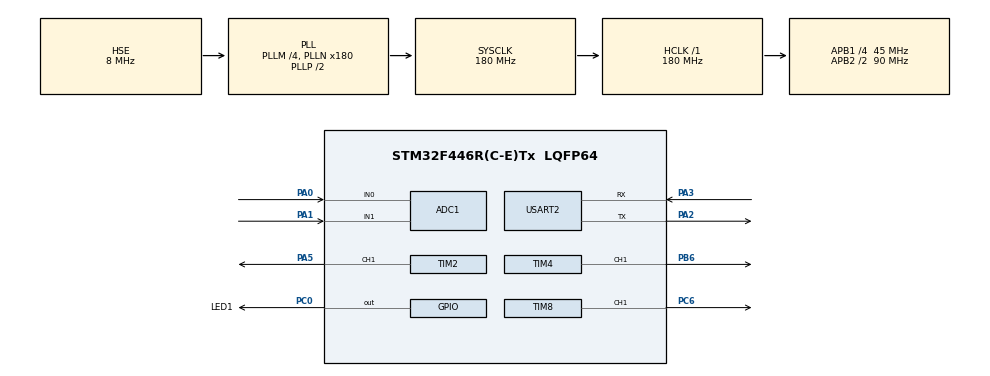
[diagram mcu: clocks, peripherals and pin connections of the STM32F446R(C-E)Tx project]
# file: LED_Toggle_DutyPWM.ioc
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ADC1.Channel-2\#ChannelRegularConversion=ADC_CHANNEL_0
ADC1.Channel-3\#ChannelRegularConversion=ADC_CHANNEL_1
ADC1.ContinuousConvMode=ENABLE
ADC1.DMAContinuousRequests=ENABLE
ADC1.ExternalTrigConv=ADC_SOFTWARE_START
ADC1.NbrOfConversion=2
ADC1.NbrOfConversionFlag=1
ADC1.Rank-2\#ChannelRegularConversion=1
ADC1.Rank-3\#ChannelRegularConversion=2
ADC1.SamplingTime-2\#ChannelRegularConversion=ADC_SAMPLETIME_144CYCLES
ADC1.SamplingTime-3\#ChannelRegularConversion=ADC_SAMPLETIME_144CYCLES
ADC1.ScanConvMode=ENABLE
ADC1.master=1
Dma.ADC1.0.Direction=DMA_PERIPH_TO_MEMORY
Dma.ADC1.0.FIFOMode=DMA_FIFOMODE_DISABLE
Dma.ADC1.0.Instance=DMA2_Stream0
Dma.ADC1.0.MemDataAlignment=DMA_MDATAALIGN_HALFWORD
Dma.ADC1.0.MemInc=DMA_MINC_ENABLE
Dma.ADC1.0.Mode=DMA_CIRCULAR
Dma.ADC1.0.PeriphDataAlignment=DMA_PDATAALIGN_HALFWORD
Dma.ADC1.0.PeriphInc=DMA_PINC_DISABLE
Dma.ADC1.0.Priority=DMA_PRIORITY_LOW
Dma.Request0=ADC1
Mcu.Family=STM32F4
Mcu.Name=STM32F446R(C-E)Tx
Mcu.Package=LQFP64
NVIC.DMA2_Stream0_IRQn=true\:14\:0\:true\:false\:true\:false\:true\:true
NVIC.PriorityGroup=NVIC_PRIORITYGROUP_4
NVIC.TIM2_IRQn=true\:0\:0\:false\:false\:true\:true\:true\:true
NVIC.TIM3_IRQn=true\:0\:0\:false\:false\:true\:true\:true\:true
NVIC.TIM6_DAC_IRQn=true\:0\:0\:false\:false\:true\:true\:true\:true
NVIC.USART2_IRQn=true\:0\:0\:false\:false\:true\:true\:true\:true
PA0-WKUP.Signal=ADCx_IN0
PA1.Signal=ADCx_IN1
PA13.Mode=Serial_Wire
PA13.Signal=SYS_JTMS-SWDIO
PA14.Mode=Serial_Wire
PA14.Signal=SYS_JTCK-SWCLK
PA2.Mode=Asynchronous
PA2.Signal=USART2_TX
PA3.Mode=Asynchronous
PA3.Signal=USART2_RX
PA5.Signal=S_TIM2_CH1_ETR
PB6.Signal=S_TIM4_CH1
PC0.GPIO_Label=LED1
PC0.GPIO_Speed=GPIO_SPEED_FREQ_HIGH
PC0.Signal=GPIO_Output
PC6.Signal=S_TIM8_CH1
PH0-OSC_IN.Mode=HSE-External-Oscillator
PH0-OSC_IN.Signal=RCC_OSC_IN
PH1-OSC_OUT.Mode=HSE-External-Oscillator
PH1-OSC_OUT.Signal=RCC_OSC_OUT
ProjectManager.HeapSize=0x200
ProjectManager.StackSize=0x400
ProjectManager.TargetToolchain=STM32CubeIDE
RCC.AHBFreq_Value=180000000
RCC.APB1CLKDivider=RCC_HCLK_DIV4
RCC.APB1Freq_Value=45000000
RCC.APB1TimFreq_Value=90000000
RCC.APB2CLKDivider=RCC_HCLK_DIV2
RCC.APB2Freq_Value=90000000
RCC.APB2TimFreq_Value=180000000
RCC.CortexFreq_Value=180000000
RCC.HCLKFreq_Value=180000000
RCC.HSE_VALUE=8000000
RCC.PLLM=4
RCC.PLLN=180
RCC.PLLSourceVirtual=RCC_PLLSOURCE_HSE
RCC.SYSCLKFreq_VALUE=180000000
RCC.SYSCLKSource=RCC_SYSCLKSOURCE_PLLCLK
RCC.USBFreq_Value=180000000
RCC.VCOOutputFreq_Value=360000000
SH.ADCx_IN0.0=ADC1_IN0,IN0
SH.ADCx_IN1.0=ADC1_IN1,IN1
SH.S_TIM2_CH1_ETR.0=TIM2_CH1,PWM Generation1 CH1
SH.S_TIM4_CH1.0=TIM4_CH1,PWM Generation1 CH1
SH.S_TIM8_CH1.0=TIM8_CH1,PWM Generation1 CH1
TIM2.AutoReloadPreload=TIM_AUTORELOAD_PRELOAD_ENABLE
TIM2.Channel-PWM\ Generation1\ CH1=TIM_CHANNEL_1
TIM2.Period=20000-1
TIM2.Prescaler=9000-1
TIM2.Pulse-PWM\ Generation1\ CH1=10000-1
TIM2.TIM_MasterOutputTrigger=TIM_TRGO_RESET
TIM3.Period=10000-1
TIM3.Prescaler=9000-1
TIM4.AutoReloadPreload=TIM_AUTORELOAD_PRELOAD_ENABLE
TIM4.Channel-PWM\ Generation1\ CH1=TIM_CHANNEL_1
TIM4.Period=10000-1
TIM4.Prescaler=9-1
TIM6.AutoReloadPreload=TIM_AUTORELOAD_PRELOAD_ENABLE
TIM6.Period=1000-1
TIM6.Prescaler=9000-1
TIM8.AutoReloadPreload=TIM_AUTORELOAD_PRELOAD_ENABLE
TIM8.Channel-PWM\ Generation1\ CH1=TIM_CHANNEL_1
TIM8.Period=18000-1
TIM8.Prescaler=0
TIM8.TIM_MasterOutputTrigger=TIM_TRGO_RESET
USART2.VirtualMode=VM_ASYNC
VP_TIM2_VS_ClockSourceINT.Mode=Internal
VP_TIM3_VS_ClockSourceINT.Mode=Internal
VP_TIM4_VS_ClockSourceINT.Mode=Internal
VP_TIM6_VS_ClockSourceINT.Mode=Enable_Timer
VP_TIM8_VS_ClockSourceINT.Mode=Internal
board=custom

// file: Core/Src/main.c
/* USER CODE BEGIN Header */
/**
  ******************************************************************************
  * @file           : main.c
  * @brief          : Main program body
  ******************************************************************************
  * @attention
  *
  * Copyright (c) 2023 STMicroelectronics.
  * All rights reserved.
  *
  * This software is licensed under terms that can be found in the LICENSE file
  * in the root directory of this software component.
  * If no LICENSE file comes with this software, it is provided AS-IS.
  *
  ******************************************************************************
  */
/* USER CODE END Header */
#include "main.h"

/* USER CODE BEGIN Includes */
#include "lvq_stm32f4_ota.h"
#include "cbuffer.h"
#include <stdio.h>
#include <stdlib.h>
#include <string.h>
#include <stdbool.h>

#define TEST_ADC				(1)
#define TEST_ADC_POLLING		(0)
#define TEST_ADC_DMA			(1)
#define TEST_ADC_TRIG_TIMER		(0)
#define TEST_LED				(0)
#define TEST_LED_FADE			(0)

#define INCREMENT   			(10)
#define DECREMENT   			(-10)
#define MAX_VOLTS   			(3.3)
#define VOLTS_RE				(1.0)
#define RANGE_PWM      			(18000 - 1)

/* USER CODE END Includes */

 ADC_HandleTypeDef hadc1;
DMA_HandleTypeDef hdma_adc1;

TIM_HandleTypeDef htim2;
TIM_HandleTypeDef htim3;
TIM_HandleTypeDef htim4;
TIM_HandleTypeDef htim6;
TIM_HandleTypeDef htim8;

UART_HandleTypeDef huart1;
UART_HandleTypeDef huart2;

void SystemClock_Config(void);
static void MX_GPIO_Init(void);
static void MX_TIM2_Init(void);
static void MX_TIM3_Init(void);
static void MX_TIM4_Init(void);
static void MX_DMA_Init(void);
static void MX_TIM8_Init(void);
static void MX_ADC1_Init(void);
static void MX_USART2_UART_Init(void);
static void MX_TIM6_Init(void);

/* USER CODE BEGIN 0 */

volatile const uint32_t checkupdate[20000] = {0};

char data_buffer[8];
char volts[8];
uint8_t rx_data = 0;
uint8_t count = 0;
int8_t s8update = INCREMENT;
volatile uint16_t adc_buf[2] = {0, 0};
float fvolts = 0;
volatile float fadc_volts = 0;
volatile float volts_check = 0;
uint32_t u32dutycurrent = 0;

void HAL_UART_RxCpltCallback(UART_HandleTypeDef *huart)
{
	if(rx_data == '\n')
	{
		data_buffer[count++]='\n';
		HAL_UART_Transmit(huart,(uint8_t *) data_buffer,count,HAL_MAX_DELAY);
		strcpy(volts, data_buffer);
		memset(data_buffer, 0, count);
		count = 0;
		fvolts = atof(volts);
		fvolts = (fvolts/3.3)*RANGE_PWM;
		__HAL_TIM_SET_COMPARE(&htim8, TIM_CHANNEL_1, (uint32_t) fvolts);
	}
	else
	{
		data_buffer[count++] = rx_data;
	}
	HAL_UART_Receive_IT(&huart2,&rx_data,1);
}

void HAL_TIM_PeriodElapsedCallback(TIM_HandleTypeDef *htim) //16Khz timer
{
   if( htim->Instance == TIM3 )
	   HAL_GPIO_TogglePin(LED1_GPIO_Port, LED1_Pin);
   if( htim->Instance == TIM6 )
   {
	   volts_check = adc_buf[0]*1.0/4095.0 * 3.3;
   }
}

/* USER CODE END 0 */

int main(void)
{

  /* MCU Configuration--------------------------------------------------------*/

  /* Reset of all peripherals, Initializes the Flash interface and the Systick. */
  HAL_Init();

  /* Configure the system clock */
  SystemClock_Config();

  /* Initialize all configured peripherals */
  MX_GPIO_Init();
  MX_TIM2_Init();
  MX_TIM3_Init();
  MX_TIM4_Init();
  MX_DMA_Init();
  MX_TIM8_Init();
  MX_ADC1_Init();
  MX_USART2_UART_Init();
  MX_TIM6_Init();
  /* USER CODE BEGIN 2 */
  HAL_TIM_Base_Start_IT(&htim3);
  HAL_TIM_Base_Start_IT(&htim6);
  HAL_TIM_PWM_Start(&htim4, TIM_CHANNEL_1);
  HAL_TIM_PWM_Start(&htim2, TIM_CHANNEL_1);
  HAL_TIM_PWM_Start(&htim8, TIM_CHANNEL_1);
  HAL_UART_Receive_IT(&huart2,&rx_data,1);
  fvolts = (1.0/3.3)*RANGE_PWM;
  __HAL_TIM_SET_COMPARE(&htim4, TIM_CHANNEL_1, 0);
  __HAL_TIM_SET_COMPARE(&htim8, TIM_CHANNEL_1, (uint32_t) fvolts);

  #if defined TEST_ADC && ( TEST_ADC_DMA == 1U )
  	  HAL_ADC_Start_DMA(&hadc1, (uint32_t*)adc_buf, 2);
  #endif

  #if defined TEST_ADC && ( TEST_ADC_TRIG_TIMER == 1U )
  	HAL_ADC_Start_IT(&hadc1);
  	HAL_TIM_PWM_Start(&htim3, TIM_CHANNEL_1);
  #endif

  uint8_t buffer[10] = { 0 };
  memset(buffer, 0, 10);
  cbuffer_t cb;
  cb_init(&cb, buffer, 10);

  checkupdate[0];
  /* USER CODE END 2 */

  /* Infinite loop */
  while (1)
  {

    /* USER CODE BEGIN 3 */
	#if defined TEST_LED && ( TEST_LED_FADE == 1U )
	  	u32dutycurrent += s8update;
		__HAL_TIM_SET_COMPARE(&htim4, TIM_CHANNEL_1, u32dutycurrent);
		if( u32dutycurrent == 9999 )
			s8update = DECREMENT;
		else if( u32dutycurrent == 0 )
			s8update = INCREMENT;
		HAL_Delay(1);
    #endif

	#if defined TEST_ADC && ( TEST_ADC_POLLING == 1U )
		HAL_ADC_Start(&hadc1);
		if(HAL_ADC_PollForConversion(&hadc1, 100) == HAL_OK)
		{
			fadc_volts = HAL_ADC_GetValue(&hadc1)*1.0/4095 * 3.3;
		}
		HAL_ADC_Stop(&hadc1);
		HAL_Delay(200);
  	#endif

	#if defined TEST_ADC && ( TEST_ADC_DMA == 1U )

	#endif
  }
  /* USER CODE END 3 */
}

void SystemClock_Config(void)
{
  RCC_OscInitTypeDef RCC_OscInitStruct = {0};
  RCC_ClkInitTypeDef RCC_ClkInitStruct = {0};

  /** Configure the main internal regulator output voltage
  */
  __HAL_RCC_PWR_CLK_ENABLE();
  __HAL_PWR_VOLTAGESCALING_CONFIG(PWR_REGULATOR_VOLTAGE_SCALE1);

  /** Initializes the RCC Oscillators according to the specified parameters
  * in the RCC_OscInitTypeDef structure.
  */
  RCC_OscInitStruct.OscillatorType = RCC_OSCILLATORTYPE_HSE;
  RCC_OscInitStruct.HSEState = RCC_HSE_ON;
  RCC_OscInitStruct.PLL.PLLState = RCC_PLL_ON;
  RCC_OscInitStruct.PLL.PLLSource = RCC_PLLSOURCE_HSE;
  RCC_OscInitStruct.PLL.PLLM = 4;
  RCC_OscInitStruct.PLL.PLLN = 180;
  RCC_OscInitStruct.PLL.PLLP = RCC_PLLP_DIV2;
  RCC_OscInitStruct.PLL.PLLQ = 2;
  RCC_OscInitStruct.PLL.PLLR = 2;
  if (HAL_RCC_OscConfig(&RCC_OscInitStruct) != HAL_OK)
  {
    Error_Handler();
  }

  /** Activate the Over-Drive mode
  */
  if (HAL_PWREx_EnableOverDrive() != HAL_OK)
  {
    Error_Handler();
  }

  /** Initializes the CPU, AHB and APB buses clocks
  */
  RCC_ClkInitStruct.ClockType = RCC_CLOCKTYPE_HCLK|RCC_CLOCKTYPE_SYSCLK
                              |RCC_CLOCKTYPE_PCLK1|RCC_CLOCKTYPE_PCLK2;
  RCC_ClkInitStruct.SYSCLKSource = RCC_SYSCLKSOURCE_PLLCLK;
  RCC_ClkInitStruct.AHBCLKDivider = RCC_SYSCLK_DIV1;
  RCC_ClkInitStruct.APB1CLKDivider = RCC_HCLK_DIV4;
  RCC_ClkInitStruct.APB2CLKDivider = RCC_HCLK_DIV2;

  if (HAL_RCC_ClockConfig(&RCC_ClkInitStruct, FLASH_LATENCY_5) != HAL_OK)
  {
    Error_Handler();
  }
}

static void MX_ADC1_Init(void)
{

  ADC_ChannelConfTypeDef sConfig = {0};

  /** Configure the global features of the ADC (Clock, Resolution, Data Alignment and number of conversion)
  */
  hadc1.Instance = ADC1;
  hadc1.Init.ClockPrescaler = ADC_CLOCK_SYNC_PCLK_DIV4;
  hadc1.Init.Resolution = ADC_RESOLUTION_12B;
  hadc1.Init.ScanConvMode = ENABLE;
  hadc1.Init.ContinuousConvMode = ENABLE;
  hadc1.Init.DiscontinuousConvMode = DISABLE;
  hadc1.Init.ExternalTrigConvEdge = ADC_EXTERNALTRIGCONVEDGE_NONE;
  hadc1.Init.ExternalTrigConv = ADC_SOFTWARE_START;
  hadc1.Init.DataAlign = ADC_DATAALIGN_RIGHT;
  hadc1.Init.NbrOfConversion = 2;
  hadc1.Init.DMAContinuousRequests = ENABLE;
  hadc1.Init.EOCSelection = ADC_EOC_SINGLE_CONV;
  if (HAL_ADC_Init(&hadc1) != HAL_OK)
  {
    Error_Handler();
  }

  /** Configure for the selected ADC regular channel its corresponding rank in the sequencer and its sample time.
  */
  sConfig.Channel = ADC_CHANNEL_0;
  sConfig.Rank = 1;
  sConfig.SamplingTime = ADC_SAMPLETIME_144CYCLES;
  if (HAL_ADC_ConfigChannel(&hadc1, &sConfig) != HAL_OK)
  {
    Error_Handler();
  }

  /** Configure for the selected ADC regular channel its corresponding rank in the sequencer and its sample time.
  */
  sConfig.Channel = ADC_CHANNEL_1;
  sConfig.Rank = 2;
  if (HAL_ADC_ConfigChannel(&hadc1, &sConfig) != HAL_OK)
  {
    Error_Handler();
  }

}

static void MX_TIM2_Init(void)
{

  TIM_ClockConfigTypeDef sClockSourceConfig = {0};
  TIM_MasterConfigTypeDef sMasterConfig = {0};
  TIM_OC_InitTypeDef sConfigOC = {0};

  htim2.Instance = TIM2;
  htim2.Init.Prescaler = 9000-1;
  htim2.Init.CounterMode = TIM_COUNTERMODE_UP;
  htim2.Init.Period = 20000-1;
  htim2.Init.ClockDivision = TIM_CLOCKDIVISION_DIV1;
  htim2.Init.AutoReloadPreload = TIM_AUTORELOAD_PRELOAD_ENABLE;
  if (HAL_TIM_Base_Init(&htim2) != HAL_OK)
  {
    Error_Handler();
  }
  sClockSourceConfig.ClockSource = TIM_CLOCKSOURCE_INTERNAL;
  if (HAL_TIM_ConfigClockSource(&htim2, &sClockSourceConfig) != HAL_OK)
  {
    Error_Handler();
  }
  if (HAL_TIM_PWM_Init(&htim2) != HAL_OK)
  {
    Error_Handler();
  }
  sMasterConfig.MasterOutputTrigger = TIM_TRGO_RESET;
  sMasterConfig.MasterSlaveMode = TIM_MASTERSLAVEMODE_DISABLE;
  if (HAL_TIMEx_MasterConfigSynchronization(&htim2, &sMasterConfig) != HAL_OK)
  {
    Error_Handler();
  }
  sConfigOC.OCMode = TIM_OCMODE_PWM1;
  sConfigOC.Pulse = 10000-1;
  sConfigOC.OCPolarity = TIM_OCPOLARITY_HIGH;
  sConfigOC.OCFastMode = TIM_OCFAST_DISABLE;
  if (HAL_TIM_PWM_ConfigChannel(&htim2, &sConfigOC, TIM_CHANNEL_1) != HAL_OK)
  {
    Error_Handler();
  }
  HAL_TIM_MspPostInit(&htim2);

}

static void MX_TIM3_Init(void)
{

  TIM_ClockConfigTypeDef sClockSourceConfig = {0};
  TIM_MasterConfigTypeDef sMasterConfig = {0};

  htim3.Instance = TIM3;
  htim3.Init.Prescaler = 9000-1;
  htim3.Init.CounterMode = TIM_COUNTERMODE_UP;
  htim3.Init.Period = 10000-1;
  htim3.Init.ClockDivision = TIM_CLOCKDIVISION_DIV1;
  htim3.Init.AutoReloadPreload = TIM_AUTORELOAD_PRELOAD_DISABLE;
  if (HAL_TIM_Base_Init(&htim3) != HAL_OK)
  {
    Error_Handler();
  }
  sClockSourceConfig.ClockSource = TIM_CLOCKSOURCE_INTERNAL;
  if (HAL_TIM_ConfigClockSource(&htim3, &sClockSourceConfig) != HAL_OK)
  {
    Error_Handler();
  }
  sMasterConfig.MasterOutputTrigger = TIM_TRGO_RESET;
  sMasterConfig.MasterSlaveMode = TIM_MASTERSLAVEMODE_DISABLE;
  if (HAL_TIMEx_MasterConfigSynchronization(&htim3, &sMasterConfig) != HAL_OK)
  {
    Error_Handler();
  }

}

static void MX_TIM4_Init(void)
{

  TIM_ClockConfigTypeDef sClockSourceConfig = {0};
  TIM_MasterConfigTypeDef sMasterConfig = {0};
  TIM_OC_InitTypeDef sConfigOC = {0};

  htim4.Instance = TIM4;
  htim4.Init.Prescaler = 9-1;
  htim4.Init.CounterMode = TIM_COUNTERMODE_UP;
  htim4.Init.Period = 10000-1;
  htim4.Init.ClockDivision = TIM_CLOCKDIVISION_DIV1;
  htim4.Init.AutoReloadPreload = TIM_AUTORELOAD_PRELOAD_ENABLE;
  if (HAL_TIM_Base_Init(&htim4) != HAL_OK)
  {
    Error_Handler();
  }
  sClockSourceConfig.ClockSource = TIM_CLOCKSOURCE_INTERNAL;
  if (HAL_TIM_ConfigClockSource(&htim4, &sClockSourceConfig) != HAL_OK)
  {
    Error_Handler();
  }
  if (HAL_TIM_PWM_Init(&htim4) != HAL_OK)
  {
    Error_Handler();
  }
  sMasterConfig.MasterOutputTrigger = TIM_TRGO_RESET;
  sMasterConfig.MasterSlaveMode = TIM_MASTERSLAVEMODE_DISABLE;
  if (HAL_TIMEx_MasterConfigSynchronization(&htim4, &sMasterConfig) != HAL_OK)
  {
    Error_Handler();
  }
  sConfigOC.OCMode = TIM_OCMODE_PWM1;
  sConfigOC.Pulse = 0;
  sConfigOC.OCPolarity = TIM_OCPOLARITY_HIGH;
  sConfigOC.OCFastMode = TIM_OCFAST_DISABLE;
  if (HAL_TIM_PWM_ConfigChannel(&htim4, &sConfigOC, TIM_CHANNEL_1) != HAL_OK)
  {
    Error_Handler();
  }
  HAL_TIM_MspPostInit(&htim4);

}

static void MX_TIM6_Init(void)
{

  TIM_MasterConfigTypeDef sMasterConfig = {0};

  htim6.Instance = TIM6;
  htim6.Init.Prescaler = 9000-1;
  htim6.Init.CounterMode = TIM_COUNTERMODE_UP;
  htim6.Init.Period = 1000-1;
  htim6.Init.AutoReloadPreload = TIM_AUTORELOAD_PRELOAD_ENABLE;
  if (HAL_TIM_Base_Init(&htim6) != HAL_OK)
  {
    Error_Handler();
  }
  sMasterConfig.MasterOutputTrigger = TIM_TRGO_RESET;
  sMasterConfig.MasterSlaveMode = TIM_MASTERSLAVEMODE_DISABLE;
  if (HAL_TIMEx_MasterConfigSynchronization(&htim6, &sMasterConfig) != HAL_OK)
  {
    Error_Handler();
  }

}

static void MX_TIM8_Init(void)
{

  TIM_ClockConfigTypeDef sClockSourceConfig = {0};
  TIM_MasterConfigTypeDef sMasterConfig = {0};
  TIM_OC_InitTypeDef sConfigOC = {0};
  TIM_BreakDeadTimeConfigTypeDef sBreakDeadTimeConfig = {0};

  htim8.Instance = TIM8;
  htim8.Init.Prescaler = 0;
  htim8.Init.CounterMode = TIM_COUNTERMODE_UP;
  htim8.Init.Period = 18000-1;
  htim8.Init.ClockDivision = TIM_CLOCKDIVISION_DIV1;
  htim8.Init.RepetitionCounter = 0;
  htim8.Init.AutoReloadPreload = TIM_AUTORELOAD_PRELOAD_ENABLE;
  if (HAL_TIM_Base_Init(&htim8) != HAL_OK)
  {
    Error_Handler();
  }
  sClockSourceConfig.ClockSource = TIM_CLOCKSOURCE_INTERNAL;
  if (HAL_TIM_ConfigClockSource(&htim8, &sClockSourceConfig) != HAL_OK)
  {
    Error_Handler();
  }
  if (HAL_TIM_PWM_Init(&htim8) != HAL_OK)
  {
    Error_Handler();
  }
  sMasterConfig.MasterOutputTrigger = TIM_TRGO_RESET;
  sMasterConfig.MasterSlaveMode = TIM_MASTERSLAVEMODE_DISABLE;
  if (HAL_TIMEx_MasterConfigSynchronization(&htim8, &sMasterConfig) != HAL_OK)
  {
    Error_Handler();
  }
  sConfigOC.OCMode = TIM_OCMODE_PWM1;
  sConfigOC.Pulse = 0;
  sConfigOC.OCPolarity = TIM_OCPOLARITY_HIGH;
  sConfigOC.OCNPolarity = TIM_OCNPOLARITY_HIGH;
  sConfigOC.OCFastMode = TIM_OCFAST_DISABLE;
  sConfigOC.OCIdleState = TIM_OCIDLESTATE_RESET;
  sConfigOC.OCNIdleState = TIM_OCNIDLESTATE_RESET;
  if (HAL_TIM_PWM_ConfigChannel(&htim8, &sConfigOC, TIM_CHANNEL_1) != HAL_OK)
  {
    Error_Handler();
  }
  sBreakDeadTimeConfig.OffStateRunMode = TIM_OSSR_DISABLE;
  sBreakDeadTimeConfig.OffStateIDLEMode = TIM_OSSI_DISABLE;
  sBreakDeadTimeConfig.LockLevel = TIM_LOCKLEVEL_OFF;
  sBreakDeadTimeConfig.DeadTime = 0;
  sBreakDeadTimeConfig.BreakState = TIM_BREAK_DISABLE;
  sBreakDeadTimeConfig.BreakPolarity = TIM_BREAKPOLARITY_HIGH;
  sBreakDeadTimeConfig.AutomaticOutput = TIM_AUTOMATICOUTPUT_DISABLE;
  if (HAL_TIMEx_ConfigBreakDeadTime(&htim8, &sBreakDeadTimeConfig) != HAL_OK)
  {
    Error_Handler();
  }
  HAL_TIM_MspPostInit(&htim8);

}

static void MX_USART2_UART_Init(void)
{

  huart2.Instance = USART2;
  huart2.Init.BaudRate = 115200;
  huart2.Init.WordLength = UART_WORDLENGTH_8B;
  huart2.Init.StopBits = UART_STOPBITS_1;
  huart2.Init.Parity = UART_PARITY_NONE;
  huart2.Init.Mode = UART_MODE_TX_RX;
  huart2.Init.HwFlowCtl = UART_HWCONTROL_NONE;
  huart2.Init.OverSampling = UART_OVERSAMPLING_16;
  if (HAL_UART_Init(&huart2) != HAL_OK)
  {
    Error_Handler();
  }

}

static void MX_DMA_Init(void)
{

  /* DMA controller clock enable */
  __HAL_RCC_DMA2_CLK_ENABLE();

  /* DMA interrupt init */
  /* DMA2_Stream0_IRQn interrupt configuration */
  HAL_NVIC_SetPriority(DMA2_Stream0_IRQn, 14, 0);
  HAL_NVIC_EnableIRQ(DMA2_Stream0_IRQn);

}

static void MX_GPIO_Init(void)
{
  GPIO_InitTypeDef GPIO_InitStruct = {0};

  /* GPIO Ports Clock Enable */
  __HAL_RCC_GPIOH_CLK_ENABLE();
  __HAL_RCC_GPIOC_CLK_ENABLE();
  __HAL_RCC_GPIOA_CLK_ENABLE();
  __HAL_RCC_GPIOB_CLK_ENABLE();

  /*Configure GPIO pin Output Level */
  HAL_GPIO_WritePin(LED1_GPIO_Port, LED1_Pin, GPIO_PIN_RESET);

  /*Configure GPIO pin : LED1_Pin */
  GPIO_InitStruct.Pin = LED1_Pin;
  GPIO_InitStruct.Mode = GPIO_MODE_OUTPUT_PP;
  GPIO_InitStruct.Pull = GPIO_NOPULL;
  GPIO_InitStruct.Speed = GPIO_SPEED_FREQ_HIGH;
  HAL_GPIO_Init(LED1_GPIO_Port, &GPIO_InitStruct);

}

void Error_Handler(void)
{
  __disable_irq();
  while (1)
  {
  }
}
